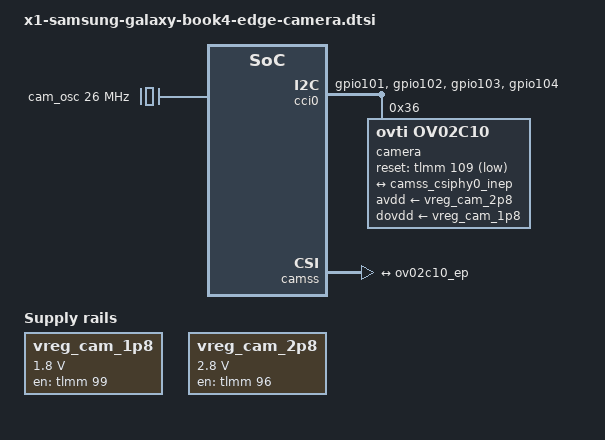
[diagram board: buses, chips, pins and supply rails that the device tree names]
/* Included by x1-samsung-galaxy-book4-edge.dtsi (sb4edge): front camera, CCI0, CAMSS */
/* Front camera (Partron OV02C10, 26 MHz module oscillator) as on the 14" (omarchy), plus the SoC's
 * CCI0 and CAMSS blocks that hamoa.dtsi in 7.4-rc2 does not have yet. */
&{/} {
	cam_osc: clock-cam-osc {
		compatible = "fixed-clock";
		#clock-cells = <0>;
		clock-frequency = <26000000>;
	};

	vreg_cam_1p8: regulator-cam-1p8 {
		compatible = "regulator-fixed";
		regulator-name = "VREG_CAM_1P8";
		regulator-min-microvolt = <1800000>;
		regulator-max-microvolt = <1800000>;
		gpio = <&tlmm 99 GPIO_ACTIVE_HIGH>;
		enable-active-high;
		pinctrl-0 = <&cam_dovdd_en>;
		pinctrl-names = "default";
		startup-delay-us = <1000>;
	};

	vreg_cam_2p8: regulator-cam-2p8 {
		compatible = "regulator-fixed";
		regulator-name = "VREG_CAM_2P8";
		regulator-min-microvolt = <2800000>;
		regulator-max-microvolt = <2800000>;
		gpio = <&tlmm 96 GPIO_ACTIVE_HIGH>;
		enable-active-high;
		pinctrl-0 = <&cam_avdd_en>;
		pinctrl-names = "default";
		startup-delay-us = <1000>;
	};
};

&tlmm {
	cam_avdd_en: cam-avdd-en-state {
		pins = "gpio96";
		function = "gpio";
		drive-strength = <2>;
		bias-disable;
	};

	cam_dovdd_en: cam-dovdd-en-state {
		pins = "gpio99";
		function = "gpio";
		drive-strength = <2>;
		bias-disable;
	};

	cam_rgb_default: cam-rgb-default-state {
		pins = "gpio109";
		function = "gpio";
		drive-strength = <2>;
		bias-disable;
	};

	cci0_default: cci0-default-state {
		cci0-i2c0-default-pins {
			pins = "gpio101", "gpio102";
			function = "cci_i2c";
			drive-strength = <2>;
			bias-pull-up;
		};
		cci0-i2c1-default-pins {
			pins = "gpio103", "gpio104";
			function = "cci_i2c";
			drive-strength = <2>;
			bias-pull-up;
		};
	};

	cci0_sleep: cci0-sleep-state {
		cci0-i2c0-sleep-pins {
			pins = "gpio101", "gpio102";
			function = "cci_i2c";
			drive-strength = <2>;
			bias-pull-down;
		};
		cci0-i2c1-sleep-pins {
			pins = "gpio103", "gpio104";
			function = "cci_i2c";
			drive-strength = <2>;
			bias-pull-down;
		};
	};
};

&{/soc@0} {
	cci0: cci@ac15000 {
		compatible = "qcom,x1e80100-cci", "qcom,msm8996-cci";
		reg = <0 0x0ac15000 0 0x1000>;
		interrupts = <GIC_SPI 460 IRQ_TYPE_EDGE_RISING>;
		clocks = <&camcc CAM_CC_CAMNOC_AXI_RT_CLK>,
			 <&camcc CAM_CC_CPAS_AHB_CLK>,
			 <&camcc CAM_CC_CCI_0_CLK>;
		clock-names = "camnoc_axi", "cpas_ahb", "cci";
		power-domains = <&camcc CAM_CC_TITAN_TOP_GDSC>;
		pinctrl-0 = <&cci0_default>;
		pinctrl-1 = <&cci0_sleep>;
		pinctrl-names = "default", "sleep";
		#address-cells = <1>;
		#size-cells = <0>;

		cci0_i2c0: i2c-bus@0 {
			reg = <0>;
			clock-frequency = <1000000>;
			#address-cells = <1>;
			#size-cells = <0>;

			camera@36 {
				compatible = "ovti,ov02c10";
				reg = <0x36>;
				reset-gpios = <&tlmm 109 GPIO_ACTIVE_LOW>;
				pinctrl-0 = <&cam_rgb_default>;
				pinctrl-names = "default";
				clocks = <&cam_osc>;
				orientation = <0>;
				rotation = <180>;
				avdd-supply = <&vreg_cam_2p8>;
				dovdd-supply = <&vreg_cam_1p8>;

				port {
					ov02c10_ep: endpoint {
						data-lanes = <1 2>;
						link-frequencies = /bits/ 64 <333125000>;
						remote-endpoint = <&camss_csiphy0_inep>;
					};
				};
			};
		};

		cci0_i2c1: i2c-bus@1 {
			reg = <1>;
			clock-frequency = <1000000>;
			#address-cells = <1>;
			#size-cells = <0>;
		};
	};

	camss: isp@acb7000 {
		compatible = "qcom,x1e80100-camss";
		reg = <0 0x0acb7000 0 0x2000>, <0 0x0acb9000 0 0x2000>, <0 0x0acbb000 0 0x2000>,
		      <0 0x0acc6000 0 0x1000>, <0 0x0acca000 0 0x1000>, <0 0x0acb6000 0 0x1000>,
		      <0 0x0ace4000 0 0x2000>, <0 0x0ace6000 0 0x2000>, <0 0x0ace8000 0 0x2000>,
		      <0 0x0acec000 0 0x4000>, <0 0x0acf6000 0 0x1000>, <0 0x0acf7000 0 0x1000>,
		      <0 0x0acf8000 0 0x1000>, <0 0x0ac62000 0 0x4000>, <0 0x0ac71000 0 0x4000>,
		      <0 0x0acc7000 0 0x2000>, <0 0x0accb000 0 0x2000>;
		reg-names = "csid0", "csid1", "csid2", "csid_lite0", "csid_lite1", "csid_wrapper",
			    "csiphy0", "csiphy1", "csiphy2", "csiphy4", "csitpg0", "csitpg1", "csitpg2",
			    "vfe0", "vfe1", "vfe_lite0", "vfe_lite1";
		clocks = <&camcc CAM_CC_CAMNOC_AXI_NRT_CLK>, <&camcc CAM_CC_CAMNOC_AXI_RT_CLK>,
			 <&camcc CAM_CC_CORE_AHB_CLK>, <&camcc CAM_CC_CPAS_AHB_CLK>,
			 <&camcc CAM_CC_CPAS_FAST_AHB_CLK>, <&camcc CAM_CC_CPAS_IFE_0_CLK>,
			 <&camcc CAM_CC_CPAS_IFE_1_CLK>, <&camcc CAM_CC_CPAS_IFE_LITE_CLK>,
			 <&camcc CAM_CC_CPHY_RX_CLK_SRC>, <&camcc CAM_CC_CSID_CLK>,
			 <&camcc CAM_CC_CSID_CSIPHY_RX_CLK>, <&camcc CAM_CC_CSIPHY0_CLK>,
			 <&camcc CAM_CC_CSI0PHYTIMER_CLK>, <&camcc CAM_CC_CSIPHY1_CLK>,
			 <&camcc CAM_CC_CSI1PHYTIMER_CLK>, <&camcc CAM_CC_CSIPHY2_CLK>,
			 <&camcc CAM_CC_CSI2PHYTIMER_CLK>, <&camcc CAM_CC_CSIPHY4_CLK>,
			 <&camcc CAM_CC_CSI4PHYTIMER_CLK>, <&gcc GCC_CAMERA_HF_AXI_CLK>,
			 <&gcc GCC_CAMERA_SF_AXI_CLK>, <&camcc CAM_CC_IFE_0_CLK>,
			 <&camcc CAM_CC_IFE_0_FAST_AHB_CLK>, <&camcc CAM_CC_IFE_1_CLK>,
			 <&camcc CAM_CC_IFE_1_FAST_AHB_CLK>, <&camcc CAM_CC_IFE_LITE_CLK>,
			 <&camcc CAM_CC_IFE_LITE_AHB_CLK>, <&camcc CAM_CC_IFE_LITE_CPHY_RX_CLK>,
			 <&camcc CAM_CC_IFE_LITE_CSID_CLK>;
		clock-names = "camnoc_nrt_axi", "camnoc_rt_axi", "core_ahb", "cpas_ahb",
			      "cpas_fast_ahb", "cpas_vfe0", "cpas_vfe1", "cpas_vfe_lite",
			      "cphy_rx_clk_src", "csid", "csid_csiphy_rx", "csiphy0", "csiphy0_timer",
			      "csiphy1", "csiphy1_timer", "csiphy2", "csiphy2_timer", "csiphy4",
			      "csiphy4_timer", "gcc_axi_hf", "gcc_axi_sf", "vfe0", "vfe0_fast_ahb",
			      "vfe1", "vfe1_fast_ahb", "vfe_lite", "vfe_lite_ahb", "vfe_lite_cphy_rx",
			      "vfe_lite_csid";
		interrupts = <GIC_SPI 464 IRQ_TYPE_EDGE_RISING>, <GIC_SPI 466 IRQ_TYPE_EDGE_RISING>,
			     <GIC_SPI 431 IRQ_TYPE_EDGE_RISING>, <GIC_SPI 468 IRQ_TYPE_EDGE_RISING>,
			     <GIC_SPI 359 IRQ_TYPE_EDGE_RISING>, <GIC_SPI 477 IRQ_TYPE_EDGE_RISING>,
			     <GIC_SPI 478 IRQ_TYPE_EDGE_RISING>, <GIC_SPI 479 IRQ_TYPE_EDGE_RISING>,
			     <GIC_SPI 122 IRQ_TYPE_EDGE_RISING>, <GIC_SPI 465 IRQ_TYPE_EDGE_RISING>,
			     <GIC_SPI 467 IRQ_TYPE_EDGE_RISING>, <GIC_SPI 469 IRQ_TYPE_EDGE_RISING>,
			     <GIC_SPI 360 IRQ_TYPE_EDGE_RISING>;
		interrupt-names = "csid0", "csid1", "csid2", "csid_lite0", "csid_lite1", "csiphy0",
				  "csiphy1", "csiphy2", "csiphy4", "vfe0", "vfe1", "vfe_lite0", "vfe_lite1";
		interconnects = <&gem_noc MASTER_APPSS_PROC QCOM_ICC_TAG_ACTIVE_ONLY
				 &config_noc SLAVE_CAMERA_CFG QCOM_ICC_TAG_ACTIVE_ONLY>,
				<&mmss_noc MASTER_CAMNOC_HF QCOM_ICC_TAG_ALWAYS
				 &mc_virt SLAVE_EBI1 QCOM_ICC_TAG_ALWAYS>,
				<&mmss_noc MASTER_CAMNOC_SF QCOM_ICC_TAG_ALWAYS
				 &mc_virt SLAVE_EBI1 QCOM_ICC_TAG_ALWAYS>,
				<&mmss_noc MASTER_CAMNOC_ICP QCOM_ICC_TAG_ALWAYS
				 &mc_virt SLAVE_EBI1 QCOM_ICC_TAG_ALWAYS>;
		interconnect-names = "ahb", "hf_mnoc", "sf_mnoc", "sf_icp_mnoc";
		iommus = <&apps_smmu 0x800 0x60>, <&apps_smmu 0x820 0x60>, <&apps_smmu 0x840 0x60>,
			 <&apps_smmu 0x860 0x60>, <&apps_smmu 0x18a0 0x0>;
		power-domains = <&camcc CAM_CC_IFE_0_GDSC>, <&camcc CAM_CC_IFE_1_GDSC>,
				<&camcc CAM_CC_TITAN_TOP_GDSC>;
		power-domain-names = "ife0", "ife1", "top";
		vdd-csiphy-0p8-supply = <&vreg_l2c_0p8>;
		vdd-csiphy-1p2-supply = <&vreg_l1c_1p2>;

		ports {
			#address-cells = <1>;
			#size-cells = <0>;

			port@0 {
				reg = <0>;
				camss_csiphy0_inep: endpoint {
					clock-lanes = <7>;
					data-lanes = <0 1>;
					remote-endpoint = <&ov02c10_ep>;
				};
			};
		};
	};
};
